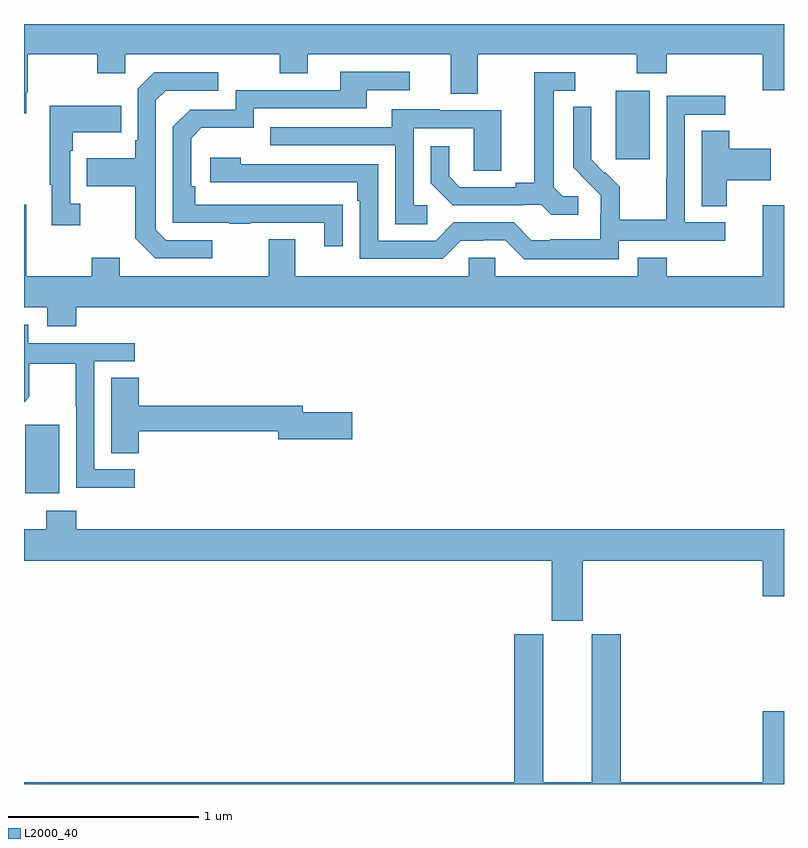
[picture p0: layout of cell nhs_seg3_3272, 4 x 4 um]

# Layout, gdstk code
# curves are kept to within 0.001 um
import gdstk
lib = gdstk.Library(unit=1e-6, precision=1e-09)
def R(c, l, rs):  # rectangles x0, y0, x1, y1
    for r in rs: c.add(gdstk.rectangle(r[:2], r[2:], *l))
def P(c, l, *ps):  # polygons
    for p in ps: c.add(gdstk.Polygon(p, *l))
L2000_40 = (2000, 40)

nhs_seg3_3272 = lib.new_cell('nhs_seg3_3272')
R(nhs_seg3_3272, L2000_40, [(281.006,707.93,281.185,708.291), (284.114,709.689,284.293,710.05)])
P(nhs_seg3_3272, L2000_40, [(281.011,710.041),(281.019,710.041),(281.019,710.24),(281.386,710.24),(281.386,710.141),(281.532,710.141),(281.532,710.24),(282.346,710.24),(282.346,710.141),(282.493,710.141),(282.493,710.24),(283.247,710.24),(283.247,710.032),(283.387,710.032),(283.387,710.24),(284.224,710.24),(284.224,710.141),(284.384,710.141),(284.384,710.24),(284.888,710.24),(284.888,710.052),(285,710.052),(285,710.4),(281,710.4),(281,709.929),(281.011,709.929)],
  [(282.677,709.448),(281.9,709.449),(281.9,709.546),(281.88,709.546),(281.88,709.8),(281.933,709.853),(282.21,709.853),(282.21,709.956),(282.805,709.956),(282.805,710.052),(283.03,710.052),(283.03,710.148),(282.665,710.148),(282.665,710.052),(282.114,710.052),(282.114,709.95),(281.874,709.95),(281.784,709.86),(281.784,709.353),(282.079,709.353),(282.079,709.348),(282.191,709.348),(282.191,709.353),(282.581,709.353),(282.581,709.23),(282.677,709.23)],
  [(283.918,709.494),(283.836,709.494),(283.789,709.541),(283.789,710.049),(283.9,710.049),(283.9,710.145),(283.685,710.145),(283.685,709.565),(283.589,709.565),(283.589,709.542),(283.294,709.542),(283.237,709.599),(283.237,709.756),(283.14,709.756),(283.14,709.562),(283.256,709.446),(283.628,709.446),(283.628,709.449),(283.722,709.449),(283.774,709.397),(283.918,709.397)],
  [(281.992,709.263),(281.748,709.263),(281.694,709.317),(281.694,709.998),(281.745,710.049),(282.022,710.049),(282.022,710.145),(281.685,710.145),(281.598,710.058),(281.598,709.789),(281.586,709.789),(281.586,709.693),(281.329,709.693),(281.329,709.546),(281.586,709.546),(281.586,709.273),(281.691,709.167),(281.992,709.167)],
  [(284.13,709.26),(284.692,709.26),(284.692,709.356),(284.478,709.356),(284.478,709.923),(284.692,709.923),(284.692,710.022),(284.382,710.022),(284.382,709.592),(284.38,709.592),(284.38,709.369),(284.135,709.369),(284.135,709.543),(284.058,709.62),(284.055,709.617),(283.985,709.688),(283.986,709.964),(283.89,709.964),(283.89,709.646),(284.036,709.498),(284.036,709.401),(284.034,709.401),(284.034,709.267),(283.771,709.267),(283.771,709.263),(283.671,709.263),(283.578,709.356),(283.263,709.356),(283.167,709.26),(282.864,709.26),(282.864,709.662),(282.14,709.662),(282.14,709.696),(281.979,709.696),(281.979,709.566),(282.755,709.566),(282.755,709.469),(282.768,709.469),(282.768,709.164),(283.203,709.164),(283.299,709.26),(283.418,709.26),(283.418,709.263),(283.533,709.263),(283.633,709.163),(284.13,709.163)],
  [(281.296,709.454),(281.244,709.454),(281.244,709.733),(281.257,709.733),(281.257,709.829),(281.513,709.829),(281.513,709.969),(281.136,709.969),(281.136,709.553),(281.147,709.553),(281.147,709.341),(281.296,709.341)],
  [(283.123,709.446),(283.05,709.446),(283.05,709.851),(283.368,709.851),(283.368,709.627),(283.513,709.627),(283.513,709.947),(283.189,709.947),(283.189,709.951),(282.935,709.951),(282.935,709.857),(282.295,709.857),(282.295,709.761),(282.954,709.761),(282.954,709.345),(283.123,709.345)],
  [(284.698,709.577),(284.929,709.577),(284.929,709.743),(284.711,709.743),(284.711,709.838),(284.567,709.838),(284.567,709.441),(284.698,709.441)],
  [(281.276,708.908),(285,708.908),(285,709.447),(284.888,709.447),(284.888,709.072),(284.384,709.072),(284.384,709.171),(284.231,709.171),(284.231,709.072),(283.479,709.072),(283.479,709.17),(283.341,709.17),(283.341,709.072),(282.427,709.072),(282.427,709.267),(282.287,709.267),(282.287,709.072),(281.503,709.072),(281.503,709.171),(281.356,709.171),(281.356,709.072),(281.011,709.072),(281.011,709.45),(281,709.45),(281,708.908),(281.123,708.908),(281.123,708.809),(281.276,708.809)],
  [(281.584,708.057),(281.37,708.057),(281.37,708.624),(281.584,708.624),(281.584,708.72),(281.022,708.72),(281.022,708.817),(281,708.817),(281,708.41),(281.027,708.437),(281.027,708.612),(281.272,708.612),(281.272,708.388),(281.274,708.388),(281.274,707.959),(281.584,707.959)],
  [(281.603,708.256),(282.338,708.256),(282.338,708.214),(282.727,708.214),(282.727,708.356),(282.466,708.356),(282.466,708.392),(281.603,708.392),(281.603,708.539),(281.459,708.539),(281.459,708.142),(281.603,708.142)],
  [(283.942,707.576),(284.888,707.576),(284.888,707.388),(285,707.388),(285,707.74),(281.276,707.74),(281.276,707.839),(281.116,707.839),(281.116,707.74),(281,707.74),(281,707.576),(283.778,707.576),(283.778,707.259),(283.942,707.259)],
  [(285,706.783),(284.888,706.783),(284.888,706.408),(284.141,706.408),(284.141,707.187),(283.988,707.187),(283.988,706.408),(283.732,706.408),(283.732,707.187),(283.58,707.187),(283.58,706.408),(281,706.408),(281,706.4),(285,706.4)])

lib.write_gds('nhs_seg3_3272.gds')
